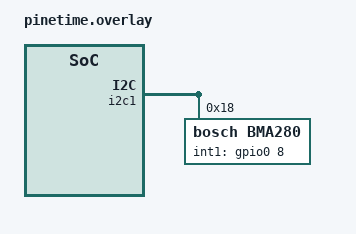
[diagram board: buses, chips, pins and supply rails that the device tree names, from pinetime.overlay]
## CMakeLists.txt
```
#
#  Copyright (c) 2018 Analog Devices Inc.
#
#  SPDX-License-Identifier: Apache-2.0
#
cmake_minimum_required(VERSION 3.13.1)
include($ENV{ZEPHYR_BASE}/../pinetime/cmake/boilerplate.cmake)
include($ENV{ZEPHYR_BASE}/cmake/app/boilerplate.cmake NO_POLICY_SCOPE)
project(bma280)

FILE(GLOB app_sources src/*.c)
target_sources(app PRIVATE ${app_sources})
```

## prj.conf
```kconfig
CONFIG_STDOUT_CONSOLE=y
CONFIG_LOG=y
CONFIG_I2C=y
CONFIG_SENSOR=y
CONFIG_BMA280=y
#CONFIG_BMA280_I2C=y
CONFIG_SENSOR_LOG_LEVEL_WRN=y
```

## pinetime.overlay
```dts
/*
 * Copyright (c) 2019 Linaro Limited
 *
 * SPDX-License-Identifier: Apache-2.0
 */

&i2c1 {
	bma280@18 {
         	compatible = "bosch,bma280"; 
		reg = <0x18>;
		label = "BMA280";
		int1-gpios = <&gpio0 8 0>;
	};
};
```

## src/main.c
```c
/*
 * Copyright (c) 2018 Analog Devices Inc.
 *
 * SPDX-License-Identifier: Apache-2.0
 */

#include <zephyr.h>
#include <drivers/sensor.h>
#include <stdio.h>

#define pow2(x) ((x) * (x))

static double sqrt(double value)
{
	int i;
	double sqrt = value / 3;

	if (value <= 0) {
		return 0;
	}

	for (i = 0; i < 6; i++) {
		sqrt = (sqrt + value / sqrt) / 2;
	}

	return sqrt;
}

K_SEM_DEFINE(sem, 0, 1);

static void trigger_handler(struct device *dev, struct sensor_trigger *trigger)
{
	ARG_UNUSED(trigger);

	if (sensor_sample_fetch(dev)) {
		printf("sensor_sample_fetch failed\n");
		return;
	}

	k_sem_give(&sem);
}

void main(void)
{
	struct sensor_value accel[3];
	double mag;
	int i;
	char meter[200];

	struct device *dev = device_get_binding(DT_INST_0_BOSCH_BMA280_LABEL);

	if (dev == NULL) {
		printf("Could not get %s device\n", DT_INST_0_BOSCH_BMA280_LABEL);
		return;
	}

	struct sensor_trigger trig = {
		.type = SENSOR_TRIG_DATA_READY,
		.chan = SENSOR_CHAN_ACCEL_XYZ,
	};

	if (IS_ENABLED(CONFIG_BMA280_PEAK_DETECT_MODE)) {
		trig.type = SENSOR_TRIG_THRESHOLD;
	}

	if (IS_ENABLED(CONFIG_BMA280_TRIGGER)) {
		if (sensor_trigger_set(dev, &trig, trigger_handler)) {
			printf("Could not set trigger\n");
			return;
		}
	}

	while (1) {
		if (IS_ENABLED(CONFIG_BMA280_TRIGGER)) {
			if (IS_ENABLED(CONFIG_BMA280_PEAK_DETECT_MODE)) {
				printf("Waiting for a threshold event\n");
			}
			k_sem_take(&sem, K_FOREVER);
		} else {
			if (sensor_sample_fetch(dev)) {
				printf("sensor_sample_fetch failed\n");
			}
		}

		sensor_channel_get(dev, SENSOR_CHAN_ACCEL_XYZ, accel);

		if (IS_ENABLED(CONFIG_BMA280_PEAK_DETECT_MODE)) {
			mag = sqrt(pow2(sensor_ms2_to_g(&accel[0])) +
				pow2(sensor_ms2_to_g(&accel[1])) +
				pow2(sensor_ms2_to_g(&accel[2])));

			for (i = 0; i <= mag && i < (sizeof(meter) - 1); i++) {
				meter[i] = '#';
			}

			meter[i] = '\0';

			printf("%6.2f g: %s\n", mag, meter);
		} else {
			printf("AX=%10.2f AY=%10.2f AZ=%10.2f (m/s^2)\n",
				sensor_value_to_double(&accel[0]),
				sensor_value_to_double(&accel[1]),
				sensor_value_to_double(&accel[2]));
		}

		if (!IS_ENABLED(CONFIG_BMA280_TRIGGER)) {
			k_sleep(K_MSEC(2000));
		}
	}
}
```
